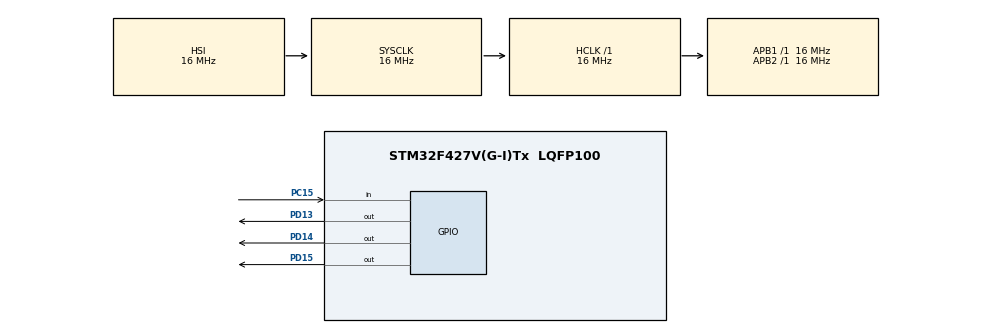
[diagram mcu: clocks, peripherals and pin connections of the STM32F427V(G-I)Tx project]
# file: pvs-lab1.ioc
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Mcu.Family=STM32F4
Mcu.Name=STM32F427V(G-I)Tx
Mcu.Package=LQFP100
NVIC.PriorityGroup=NVIC_PRIORITYGROUP_4
PA13.Mode=JTAG_5_pins
PA13.Signal=SYS_JTMS-SWDIO
PA14.Mode=JTAG_5_pins
PA14.Signal=SYS_JTCK-SWCLK
PA15.Mode=JTAG_5_pins
PA15.Signal=SYS_JTDI
PB3.Mode=JTAG_5_pins
PB3.Signal=SYS_JTDO-SWO
PB4.Mode=JTAG_5_pins
PB4.Signal=SYS_JTRST
PC15/OSC32_OUT.Signal=GPIO_Input
PD13.Signal=GPIO_Output
PD14.Signal=GPIO_Output
PD15.Signal=GPIO_Output
ProjectManager.HeapSize=0x200
ProjectManager.StackSize=0x400
ProjectManager.TargetToolchain=STM32CubeIDE
RCC.AHBFreq_Value=16000000
RCC.APB1Freq_Value=16000000
RCC.APB2Freq_Value=16000000
RCC.CortexFreq_Value=16000000
RCC.HSE_VALUE=25000000
RCC.HSI_VALUE=16000000
RCC.LSE_VALUE=32768
RCC.SYSCLKFreq_VALUE=16000000
RCC.VCOOutputFreq_Value=192000000
board=custom

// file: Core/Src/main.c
/* USER CODE BEGIN Header */
/**
  ******************************************************************************
  * @file           : main.c
  * @brief          : Main program body
  ******************************************************************************
  * @attention
  *
  * Copyright (c) 2025 STMicroelectronics.
  * All rights reserved.
  *
  * This software is licensed under terms that can be found in the LICENSE file
  * in the root directory of this software component.
  * If no LICENSE file comes with this software, it is provided AS-IS.
  *
  ******************************************************************************
  */
/* USER CODE END Header */
#include "main.h"

/* USER CODE BEGIN PTD */

typedef struct {
  int colors[2];
  int continue_ignite[2];
  int colors_size;
  int delay_on;
  int post_delay
} GarlandStep;

typedef struct {
  GarlandStep garland_steps[16];
  int size;
  int current_step;
} Garland;
/* USER CODE END PTD */

/* USER CODE BEGIN PM */
#define RED GPIO_PIN_15
#define YELLOW GPIO_PIN_14
#define GREEN GPIO_PIN_13
#define BTN_PIN_NUM GPIO_PIN_15
#define MODE_MAX 4

#define digital_write(GPIO, pin, value) HAL_GPIO_WritePin(GPIO, pin, value)
#define digital_read(GPIO, pin) !HAL_GPIO_ReadPin(GPIO, pin)

/* USER CODE END PM */

/* USER CODE BEGIN PV */
static int prev_state = 0, mode = 0;
static int steps[MODE_MAX] = {0};

static Garland mode_0 = {
  .garland_steps = {
    {.colors = {GREEN}, .continue_ignite = {0}, .colors_size = 1, .delay_on = 500},
    {.colors = {YELLOW}, .continue_ignite = {0}, .colors_size = 1, .delay_on = 500},
    {.colors = {GREEN}, .continue_ignite = {0}, .colors_size = 1, .delay_on = 500},
    {.colors = {RED}, .continue_ignite = {0}, .colors_size = 1, .delay_on = 500}
  },
  .size = 4,
};

static Garland mode_1 = {
  .garland_steps = {
    {.colors = {GREEN, YELLOW}, .continue_ignite = {0, 0}, .colors_size = 2, .delay_on = 250, .post_delay = 250},
    {.colors = {GREEN, YELLOW}, .continue_ignite = {0, 0}, .colors_size = 2, .delay_on = 250, .post_delay = 250},
    {.colors = {GREEN, RED}, .continue_ignite = {0, 0}, .colors_size = 2, .delay_on = 250, .post_delay = 250},
    {.colors = {GREEN, RED}, .continue_ignite = {0, 0}, .colors_size = 2, .delay_on = 250, .post_delay = 250},
    {.colors = {GREEN}, .continue_ignite = {0}, .colors_size = 1, .delay_on = 250},
    {.colors = {YELLOW}, .continue_ignite = {0}, .colors_size = 1, .delay_on = 250},
    {.colors = {GREEN}, .continue_ignite = {0}, .colors_size = 1, .delay_on = 250},
    {.colors = {RED}, .continue_ignite = {0}, .colors_size = 1, .delay_on = 250}
  },
  .size = 8,
};

static Garland mode_2 = {
  .garland_steps = {
    {.colors = {GREEN}, .continue_ignite = {0}, .colors_size = 1, .delay_on = 500, .post_delay = 250},
    {.colors = {GREEN}, .continue_ignite = {0}, .colors_size = 1, .delay_on = 250, .post_delay = 125},
    {.colors = {GREEN}, .continue_ignite = {1}, .colors_size = 1, .delay_on = 250, .post_delay = 500},
    {.colors = {RED}, .continue_ignite = {0}, .colors_size = 1, .delay_on = 500, .post_delay = 250},
    {.colors = {RED}, .continue_ignite = {0}, .colors_size = 1, .delay_on = 250, .post_delay = 125},
    {.colors = {RED}, .continue_ignite = {1}, .colors_size = 1, .delay_on = 250, .post_delay = 500},
    {.colors = {GREEN, RED}, .continue_ignite = {0, 0}, .colors_size = 2, .post_delay = 500},
  },
  .size = 7,
};

static Garland mode_3 = {
  .garland_steps = {
    {.colors = {GREEN, RED}, .continue_ignite = {0, 0}, .colors_size = 2, .delay_on = 75, .post_delay = 75},
    {.colors = {GREEN, RED}, .continue_ignite = {0, 0}, .colors_size = 2, .delay_on = 75, .post_delay = 75},
    {.colors = {GREEN, RED}, .continue_ignite = {0, 0}, .colors_size = 2, .delay_on = 75, .post_delay = 75},
    {.colors = {GREEN, RED}, .continue_ignite = {0, 0}, .colors_size = 2, .delay_on = 75, .post_delay = 75},
    {.colors = {GREEN, YELLOW}, .continue_ignite = {0, 0}, .colors_size = 2, .delay_on = 75, .post_delay = 75},
    {.colors = {GREEN, YELLOW}, .continue_ignite = {0, 0}, .colors_size = 2, .delay_on = 75, .post_delay = 75},
    {.colors = {GREEN,YELLOW}, .continue_ignite = {0, 0}, .colors_size = 2, .delay_on = 75, .post_delay = 75},
    {.colors = {GREEN, YELLOW}, .continue_ignite = {0, 0}, .colors_size = 2, .delay_on = 75, .post_delay = 75}
  },
  .size = 7,
};
/* USER CODE END PV */

void SystemClock_Config(void);
static void MX_GPIO_Init(void);
void garland_ignite(Garland* garland);

/* USER CODE BEGIN 0 */

int button_processing() {
  if (digital_read(GPIOC, BTN_PIN_NUM)) {
    if (!prev_state) {
      HAL_Delay(20);                                 // задержка с целью избавиться от дребезга контактов
      if (digital_read(GPIOC, BTN_PIN_NUM)) {   // кнопки. 20 мс оказалось достаточно
        mode = mode < MODE_MAX ? mode + 1 : 0;
        prev_state = 1;
        digital_write(GPIOD, GREEN, 0);
        digital_write(GPIOD, RED, 0);
        digital_write(GPIOD, YELLOW, 0);
        return 1;
      }
    }
  } else
      prev_state = 0;

  return 0;
}

/* USER CODE END 0 */

int main(void)
{

  /* MCU Configuration--------------------------------------------------------*/

  /* Reset of all peripherals, Initializes the Flash interface and the Systick. */
  HAL_Init();

  /* Configure the system clock */
  SystemClock_Config();

  /* Initialize all configured peripherals */
  MX_GPIO_Init();

  /* Infinite loop */
  while (1) {
    button_processing();

    switch (mode) {
      case 0: garland_ignite(&mode_0); break;
      case 1: garland_ignite(&mode_1); break;
      case 2: garland_ignite(&mode_2); break;
      case 3: garland_ignite(&mode_3); break;
      default: break;
    }
  }
  /* USER CODE END 3 */
}

#define CHECK_TIME(label, delay) \
  state++;        \
  last_time = HAL_GetTick(); \
  label:      \
  if (HAL_GetTick() - last_time < delay) return; \

void garland_ignite(Garland* garland) {
  static int state = 0;
  static uint32_t last_time;
  int i = garland->current_step;

  if (state == 1) goto delay_on;
  else if (state == 2) goto post_delay;

  for(int j = 0; j < garland->garland_steps[i].colors_size; j++)
    digital_write(GPIOD, garland->garland_steps[i].colors[j], 1);

  CHECK_TIME(delay_on, garland->garland_steps[i].delay_on)

  for(int j = 0; j < garland->garland_steps[i].colors_size; j++)
    digital_write(GPIOD, garland->garland_steps[i].colors[j], garland->garland_steps[i].continue_ignite[j]);

  CHECK_TIME(post_delay, garland->garland_steps[i].post_delay)

  garland->current_step = garland->current_step >= garland->size ? 0 : garland->current_step + 1;
  state = 0;
}

void SystemClock_Config(void)
{
  RCC_OscInitTypeDef RCC_OscInitStruct = {0};
  RCC_ClkInitTypeDef RCC_ClkInitStruct = {0};

  /** Configure the main internal regulator output voltage
  */
  __HAL_RCC_PWR_CLK_ENABLE();
  __HAL_PWR_VOLTAGESCALING_CONFIG(PWR_REGULATOR_VOLTAGE_SCALE3);

  /** Initializes the RCC Oscillators according to the specified parameters
  * in the RCC_OscInitTypeDef structure.
  */
  RCC_OscInitStruct.OscillatorType = RCC_OSCILLATORTYPE_HSI;
  RCC_OscInitStruct.HSIState = RCC_HSI_ON;
  RCC_OscInitStruct.HSICalibrationValue = RCC_HSICALIBRATION_DEFAULT;
  RCC_OscInitStruct.PLL.PLLState = RCC_PLL_NONE;
  if (HAL_RCC_OscConfig(&RCC_OscInitStruct) != HAL_OK)
  {
    Error_Handler();
  }

  /** Initializes the CPU, AHB and APB buses clocks
  */
  RCC_ClkInitStruct.ClockType = RCC_CLOCKTYPE_HCLK|RCC_CLOCKTYPE_SYSCLK
                              |RCC_CLOCKTYPE_PCLK1|RCC_CLOCKTYPE_PCLK2;
  RCC_ClkInitStruct.SYSCLKSource = RCC_SYSCLKSOURCE_HSI;
  RCC_ClkInitStruct.AHBCLKDivider = RCC_SYSCLK_DIV1;
  RCC_ClkInitStruct.APB1CLKDivider = RCC_HCLK_DIV1;
  RCC_ClkInitStruct.APB2CLKDivider = RCC_HCLK_DIV1;

  if (HAL_RCC_ClockConfig(&RCC_ClkInitStruct, FLASH_LATENCY_0) != HAL_OK)
  {
    Error_Handler();
  }
}

static void MX_GPIO_Init(void)
{
  GPIO_InitTypeDef GPIO_InitStruct = {0};

  /* GPIO Ports Clock Enable */
  __HAL_RCC_GPIOC_CLK_ENABLE();
  __HAL_RCC_GPIOD_CLK_ENABLE();
  __HAL_RCC_GPIOA_CLK_ENABLE();
  __HAL_RCC_GPIOB_CLK_ENABLE();

  /*Configure GPIO pin Output Level */
  HAL_GPIO_WritePin(GPIOD, GPIO_PIN_13|GPIO_PIN_14|GPIO_PIN_15, GPIO_PIN_RESET);

  /*Configure GPIO pin : PC15 */
  GPIO_InitStruct.Pin = GPIO_PIN_15;
  GPIO_InitStruct.Mode = GPIO_MODE_INPUT;
  GPIO_InitStruct.Pull = GPIO_NOPULL;
  HAL_GPIO_Init(GPIOC, &GPIO_InitStruct);

  /*Configure GPIO pins : PD13 PD14 PD15 */
  GPIO_InitStruct.Pin = GPIO_PIN_13|GPIO_PIN_14|GPIO_PIN_15;
  GPIO_InitStruct.Mode = GPIO_MODE_OUTPUT_PP;
  GPIO_InitStruct.Pull = GPIO_NOPULL;
  GPIO_InitStruct.Speed = GPIO_SPEED_FREQ_LOW;
  HAL_GPIO_Init(GPIOD, &GPIO_InitStruct);

}

void Error_Handler(void)
{
  __disable_irq();
  while (1)
  {
  }
}
